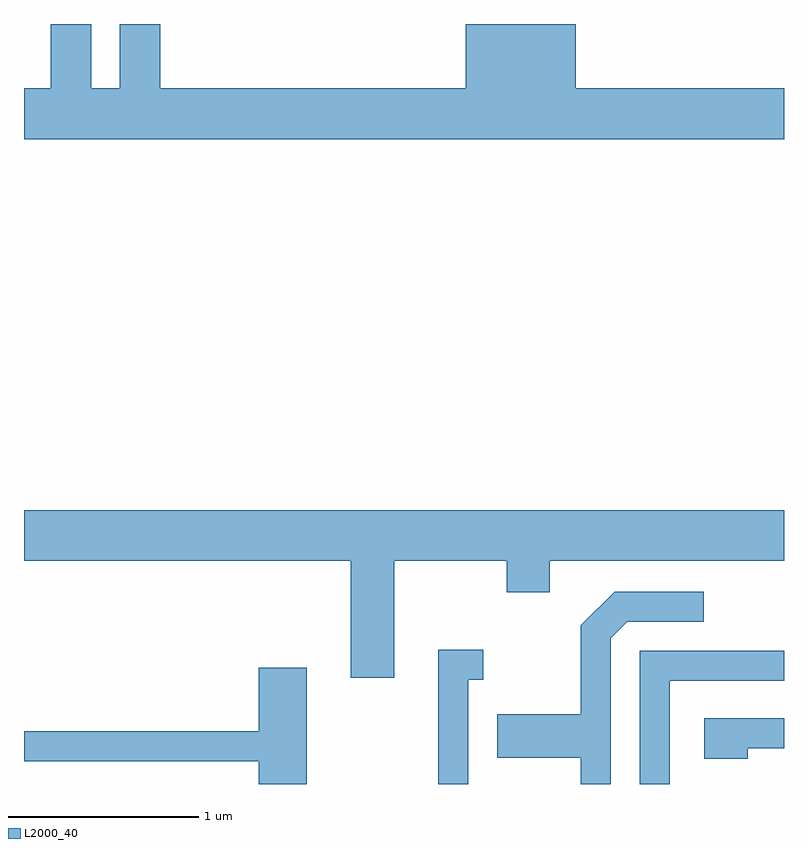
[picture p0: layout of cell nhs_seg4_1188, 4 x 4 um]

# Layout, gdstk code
import gdstk
lib = gdstk.Library(unit=1e-6, precision=1e-09)
def P(c, l, *ps):  # polygons
    for p in ps: c.add(gdstk.Polygon(p, *l))
L2000_40 = (2000, 40)

nhs_seg4_1188 = lib.new_cell('nhs_seg4_1188')
P(nhs_seg4_1188, L2000_40, [(223.611,1321.644),(222.514,1321.644),(222.514,1321.982),(221.936,1321.982),(221.936,1321.644),(220.329,1321.644),(220.329,1321.982),(220.116,1321.982),(220.116,1321.644),(219.964,1321.644),(219.964,1321.982),(219.751,1321.982),(219.751,1321.644),(219.611,1321.644),(219.611,1321.376),(223.611,1321.376)],
  [(221.559,1319.156),(222.151,1319.156),(222.151,1318.991),(222.379,1318.991),(222.379,1319.156),(223.611,1319.156),(223.611,1319.424),(219.611,1319.424),(219.611,1319.156),(221.331,1319.156),(221.331,1318.541),(221.559,1318.541)],
  [(222.699,1318.749),(222.787,1318.836),(223.188,1318.836),(223.188,1318.994),(222.719,1318.994),(222.541,1318.817),(222.541,1318.349),(222.101,1318.349),(222.101,1318.121),(222.541,1318.121),(222.541,1317.982),(222.699,1317.982)],
  [(221.949,1318.531),(222.028,1318.531),(222.028,1318.689),(221.791,1318.689),(221.791,1317.982),(221.949,1317.982)],
  [(223.009,1318.526),(223.611,1318.526),(223.611,1318.684),(222.851,1318.684),(222.851,1317.982),(223.009,1317.982)],
  [(221.099,1318.594),(220.846,1318.594),(220.846,1318.259),(219.611,1318.259),(219.611,1318.101),(220.846,1318.101),(220.846,1317.982),(221.099,1317.982)],
  [(223.419,1318.171),(223.611,1318.171),(223.611,1318.329),(223.191,1318.329),(223.191,1318.116),(223.419,1318.116)])

lib.write_gds('nhs_seg4_1188.gds')
